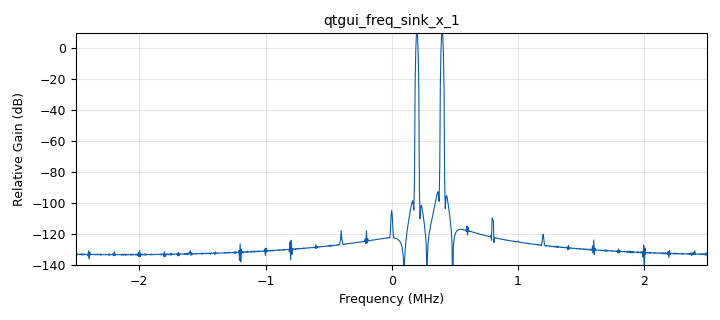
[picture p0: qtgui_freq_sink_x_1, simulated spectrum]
options:
  parameters:
    generate_options: qt_gui
    id: ack_tx
    output_language: python
    title: Not titled yet
  states: {}

blocks:
- name: decimation
  id: variable
  parameters:
    value: '1'
  states: {}
- name: samp_rate
  id: variable
  parameters:
    value: 5e6
  states: {}
- name: tone
  id: variable
  parameters:
    value: '0'
  states: {}
- name: transition_bw
  id: variable
  parameters:
    value: 30e6
  states: {}
- name: analog_sig_source_x_0
  id: analog_sig_source_x
  parameters:
    amp: '10'
    freq: 200e3
    offset: '0'
    phase: '0'
    samp_rate: samp_rate
    type: complex
    waveform: analog.GR_COS_WAVE
  states: {}
- name: analog_sig_source_x_0_0
  id: analog_sig_source_x
  parameters:
    amp: '10'
    freq: 400e3
    offset: '0'
    phase: '0'
    samp_rate: samp_rate
    type: complex
    waveform: analog.GR_COS_WAVE
  states: {}
- name: blocks_add_xx_0
  id: blocks_add_xx
  parameters:
    type: complex
  states: {}
- name: blocks_delay_0
  id: blocks_delay
  parameters:
    delay: '1000000'
    type: complex
  states: {state: disabled}
- name: epy_block_0
  id: epy_block
  parameters:
    _source_code: |
      import numpy as np
      from gnuradio import gr
      import pmt

      class blk(gr.sync_block):  
          """Custom Block to multiply complex signal source by a message-controlled value"""

          def __init__(self, default_value=1.0):  
              gr.sync_block.__init__(
                  self,
                  name='amplitude_control_complex',  
                  in_sig=[np.complex64],  # Complex input
                  out_sig=[np.complex64]  # Complex output
              )
              self.amplitude = default_value  # Default amplitude ON (1.0)
              self.amplitude_locked = False  # Track if amplitude has been turned off

              self.message_port_register_in(pmt.intern("in"))  # Register message input
              self.set_msg_handler(pmt.intern("in"), self.handle_msg)  # Set handler for incoming messages

          def handle_msg(self, msg):
              """Handle incoming messages to update amplitude"""
              if pmt.is_integer(msg) or pmt.is_real(msg):  # Ensure the message is numeric
                  flag = pmt.to_long(msg)  # Convert PMT message to integer
                  if flag == 1 and not self.amplitude_locked:
                      self.amplitude = 0.0  # Turn OFF amplitude when dual tone detected
                      self.amplitude_locked = True  # Lock the state to OFF

          def work(self, input_items, output_items):
              """Multiply the complex input signal by the amplitude"""
              signal = input_items[0]
              output_items[0][:] = self.amplitude * signal  # Apply amplitude to the complex signal

              return len(output_items[0])
    default_value: '1'
  states: {}
- name: epy_block_0_0
  id: epy_block
  parameters:
    _source_code: |
      import numpy as np
      from gnuradio import gr
      import pmt

      class blk(gr.sync_block):  
          """Custom Block to multiply complex signal source by a message-controlled value"""

          def __init__(self, default_value=1.0):  
              gr.sync_block.__init__(
                  self,
                  name='amplitude_control_complex',  
                  in_sig=[np.complex64],  # Complex input
                  out_sig=[np.complex64]  # Complex output
              )
              self.amplitude = default_value  # Default amplitude ON (1.0)
              self.amplitude_locked = False  # Track if amplitude has been turned off

              self.message_port_register_in(pmt.intern("in"))  # Register message input
              self.set_msg_handler(pmt.intern("in"), self.handle_msg)  # Set handler for incoming messages

          def handle_msg(self, msg):
              """Handle incoming messages to update amplitude"""
              if pmt.is_integer(msg) or pmt.is_real(msg):  # Ensure the message is numeric
                  flag = pmt.to_long(msg)  # Convert PMT message to integer
                  if flag == 1 and not self.amplitude_locked:
                      self.amplitude = 0.0  # Turn OFF amplitude when dual tone detected
                      self.amplitude_locked = True  # Lock the state to OFF

          def work(self, input_items, output_items):
              """Multiply the complex input signal by the amplitude"""
              signal = input_items[0]
              output_items[0][:] = self.amplitude * signal  # Apply amplitude to the complex signal

              return len(output_items[0])
    default_value: '1'
  states: {}
- name: qtgui_freq_sink_x_1
  id: qtgui_freq_sink_x
  parameters:
    bw: samp_rate
    fc: '0'
    fftsize: '1024'
    type: complex
  states: {}
- name: soapy_limesdr_sink_0
  id: soapy_limesdr_sink
  parameters:
    bandwidth: 5e6
    center_freq: 435e6
    samp_rate: samp_rate
    type: fc32
  states: {}
- name: virtual_sink_0
  id: virtual_sink
  parameters:
    stream_id: LimeSDR
  states: {state: disabled}

connections:
- [analog_sig_source_x_0, '0', epy_block_0, '0']
- [analog_sig_source_x_0_0, '0', epy_block_0_0, '0']
- [blocks_add_xx_0, '0', qtgui_freq_sink_x_1, '0']
- [blocks_add_xx_0, '0', soapy_limesdr_sink_0, '0']
- [blocks_delay_0, '0', virtual_sink_0, '0']
- [epy_block_0, '0', blocks_add_xx_0, '0']
- [epy_block_0_0, '0', blocks_add_xx_0, '1']

metadata:
  file_format: 1
  grc_version: 3.10.11.0
